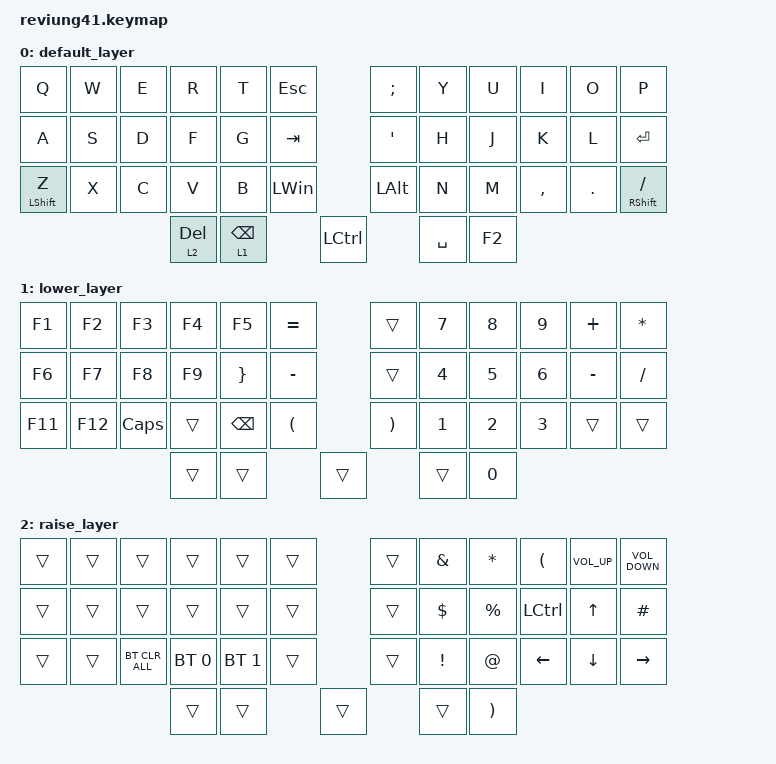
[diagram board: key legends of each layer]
/*
 * Copyright (c) 2020 The ZMK Contributors
 *
 * SPDX-License-Identifier: MIT
 */

#include <behaviors.dtsi>
#include <dt-bindings/zmk/bt.h>
#include <dt-bindings/zmk/keys.h>

/ {
    keymap {
        compatible = "zmk,keymap";

        default_layer {
            // -------------------------------------------------------------------------------------
            // |TAB |   Q  |  W  |  E  |  R  |  T  |   |  Y  |  U   |  I  |  O  |  P  |   BKSP    |
            // | CTRL |  A  |  S  |  D  |  F  |  G  |   |  H  |  J   |  K  |  L  |  ;  |    '      |
            // | SHFT |  Z  |  X  |  C  |  V  |  B  |   |  N  |  M   |  ,  |  .  |  /  | SHFT(RET) |
            //                         | ALT | LWR | SPC | RSE  | ALT |

            bindings = <
&kp Q             &kp W  &kp E  &kp R         &kp T            &kp ESC                     &kp SEMICOLON  &kp Y      &kp U   &kp I      &kp O       &kp P
&kp A             &kp S  &kp D  &kp F         &kp G            &kp TAB                     &kp SQT        &kp H      &kp J   &kp K      &kp L       &kp ENTER
&mt LEFT_SHIFT Z  &kp X  &kp C  &kp V         &kp B            &kp LWIN                    &kp LALT       &kp N      &kp M   &kp COMMA  &kp PERIOD  &mt RIGHT_SHIFT SLASH
                                &lt 2 DELETE  &lt 1 BACKSPACE            &kp LEFT_CONTROL                 &kp SPACE  &kp F2
            >;
        };

        lower_layer {
            // ------------------------------------------------------------------------------------
            // |    |  !  |  @  |  #  |  $  |  %  |   |  ^  |  &  |  *  |  (  |  )  |      DEL    |
            // |    |  _  |  +  |  {  |  }  | "|" |   | LFT | DWN |  UP | RGT |  `  |       ~     |
            // |    | ESC | GUI | ALT | CAPS|  "  |   | HOME| END | PGUP| PGDN| PRSC| SHFT(SPACE) |
            //                       |     |     | RET | ADJ |     |

            bindings = <
&kp F1   &kp F2   &kp F3        &kp F4  &kp F5         &kp EQUAL                     &trans                 &kp N7        &kp NUMBER_8  &kp NUMBER_9  &kp PLUS   &kp ASTERISK
&kp F6   &kp F7   &kp F8        &kp F9  &kp RBRC       &kp MINUS                     &trans                 &kp NUMBER_4  &kp N5        &kp NUMBER_6  &kp MINUS  &kp SLASH
&kp F11  &kp F12  &kp CAPSLOCK  &trans  &kp BACKSPACE  &kp LEFT_PARENTHESIS          &kp RIGHT_PARENTHESIS  &kp NUMBER_1  &kp NUMBER_2  &kp NUMBER_3  &trans     &trans
                                &trans  &trans                               &trans                         &trans        &kp N0
            >;
        };

        raise_layer {
            // ----------------------------------------------------------------------------
            // |    |  1  |  2  |  3  |  4  |  5  |   |  6  |  7  |  8  |  9  |  0  | DEL |
            // |    |  -  |  =  |  [  |  ]  |  \  |   | F1  | F2  | F3  | F4  | F5  | F6  |
            // |    | ESC | GUI | ALT | CAPS|  "  |   | F7  | F8  | F9  | F10 | F11 | F12 |
            //                       |     | ADJ | BKSP |    |     |

            bindings = <
&trans  &trans  &trans          &trans        &trans        &trans          &trans  &kp AMPERSAND    &kp ASTERISK           &kp LEFT_PARENTHESIS  &kp C_VOL_UP    &kp C_VOLUME_DOWN
&trans  &trans  &trans          &trans        &trans        &trans          &trans  &kp DOLLAR       &kp PERCENT            &kp LCTRL             &kp UP_ARROW    &kp HASH
&trans  &trans  &bt BT_CLR_ALL  &bt BT_SEL 0  &bt BT_SEL 1  &trans          &trans  &kp EXCLAMATION  &kp AT_SIGN            &kp LEFT              &kp DOWN_ARROW  &kp RIGHT
                                &trans        &trans                &trans          &trans           &kp RIGHT_PARENTHESIS
            >;
        };
    };
};
